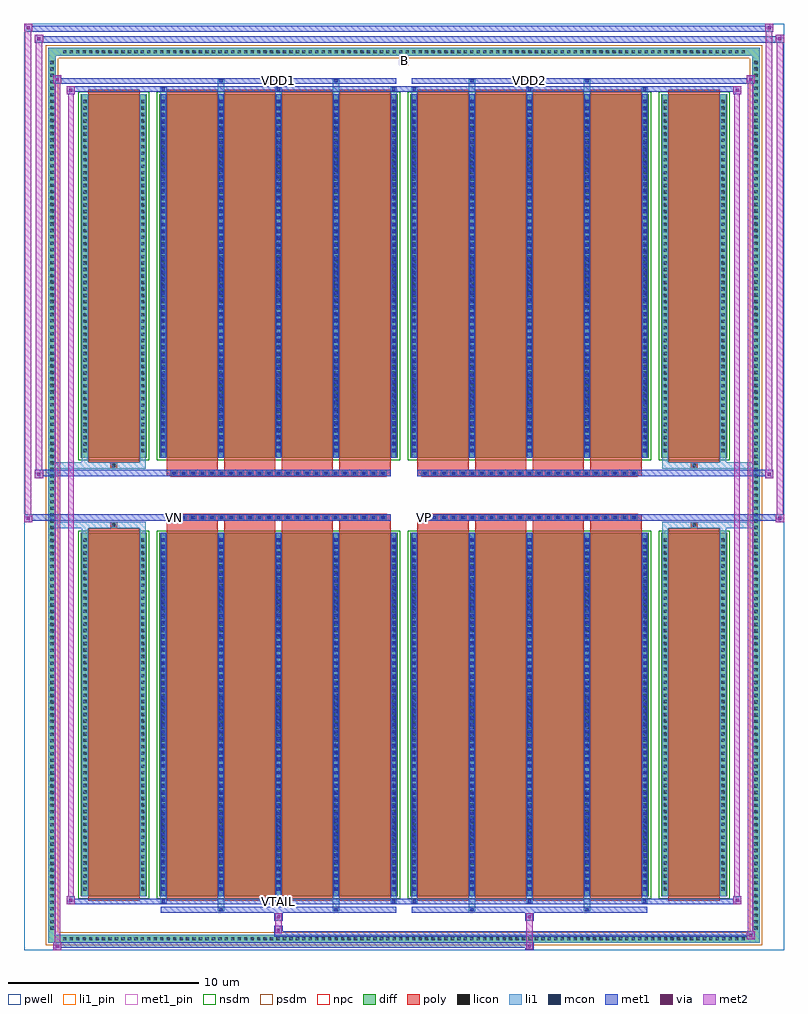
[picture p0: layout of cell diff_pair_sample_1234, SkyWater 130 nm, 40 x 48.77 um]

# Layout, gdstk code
import gdstk
lib = gdstk.Library(unit=1e-6, precision=5e-09)
def R(c, l, rs):  # rectangles x0, y0, x1, y1
    for r in rs: c.add(gdstk.rectangle(r[:2], r[2:], *l))
def A(c, l, x, y, w, h, nx, ny, dx, dy):  # array of equal rectangles
    R(c, l, [(x+i*dx, y+j*dy, x+i*dx+w, y+j*dy+h) for i in range(nx) for j in range(ny)])
def P(c, l, *ps):  # polygons
    for p in ps: c.add(gdstk.Polygon(p, *l))
pwell = (64, 44)
diff = (65, 20)
poly = (66, 20)
licon = (66, 44)
li1_pin = (67, 16)
li1 = (67, 20)
mcon = (67, 44)
met1_pin = (68, 16)
met1 = (68, 20)
via = (68, 44)
met2 = (69, 20)
nsdm = (93, 44)
psdm = (94, 20)
npc = (95, 20)

diff_pair_sample_1234 = lib.new_cell('diff_pair_sample_1234')
R(diff_pair_sample_1234, pwell, [(-20,-23.95,20,24.82), (-17.32,-22.14,-0.01,-0.8), (0.01,-22.14,17.32,-0.8), (-17.32,0.8,-0.01,22.14), (0.01,0.8,17.32,22.14)])
A(diff_pair_sample_1234, diff, -18.055, -23.55, 0.41, 0.41, 106, 2, 0.34, 46.69)
A(diff_pair_sample_1234, diff, -18.73, -22.985, 0.41, 0.41, 1, 135, 0, 0.34)
A(diff_pair_sample_1234, diff, 18.32, -22.985, 0.41, 0.41, 1, 135, 0, 0.34)
R(diff_pair_sample_1234, diff, [(-18.055,-23.55,18.055,-23.14), (-18.73,-22.985,-18.32,22.985), (18.32,-22.985,18.73,22.985), (-17.01,-21.095,-13.53,-1.985), (-12.89,-21.095,-0.32,-1.985), (0.32,-21.095,12.89,-1.985), (13.53,-21.095,17.01,-1.985), (-17.01,1.985,-13.53,21.095), (-12.89,1.985,-0.32,21.095), (0.32,1.985,12.89,21.095), (13.53,1.985,17.01,21.095), (-18.055,23.14,18.055,23.55)])
P(diff_pair_sample_1234, diff, [(18.73,23.55),(-18.73,23.55),(-18.73,-23.14),(-18.32,-23.14),(-18.32,23.14),(18.32,23.14),(18.32,-23.14),(-18.32,-23.14),(-18.73,-23.14),(-18.73,-23.55),(18.73,-23.55)])
A(diff_pair_sample_1234, poly, -12.5, -21.345, 2.7, 19.61, 4, 2, 3.03, 23.08)
A(diff_pair_sample_1234, poly, 0.71, -21.345, 2.7, 19.61, 4, 2, 3.03, 23.08)
A(diff_pair_sample_1234, poly, -12.5, -1.735, 2.7, 0.405, 4, 2, 3.03, 3.065)
A(diff_pair_sample_1234, poly, 0.71, -1.735, 2.7, 0.405, 4, 2, 3.03, 3.065)
A(diff_pair_sample_1234, poly, -12.27, -1.33, 0.33, 0.33, 23, 2, 0.5, 2.33)
A(diff_pair_sample_1234, poly, 0.94, -1.33, 0.33, 0.33, 23, 2, 0.5, 2.33)
R(diff_pair_sample_1234, poly, [(-16.62,-21.345,-13.92,-1.735), (13.92,-21.345,16.62,-1.735), (-15.435,-1.735,-15.105,-1.405), (-15.435,-1.735,-15.105,-1.405), (15.105,-1.735,15.435,-1.405), (15.105,-1.735,15.435,-1.405), (-12.5,-1.33,-0.71,-1), (0.71,-1.33,12.5,-1), (-12.5,1,-0.71,1.33), (0.71,1,12.5,1.33), (-15.435,1.405,-15.105,1.735), (-15.435,1.405,-15.105,1.735), (15.105,1.405,15.435,1.735), (15.105,1.405,15.435,1.735), (-16.62,1.735,-13.92,21.345), (13.92,1.735,16.62,21.345)])
A(diff_pair_sample_1234, licon, -17.935, -23.43, 0.17, 0.17, 106, 2, 0.34, 46.69)
A(diff_pair_sample_1234, licon, -18.61, -22.865, 0.17, 0.17, 1, 135, 0, 0.34)
A(diff_pair_sample_1234, licon, 18.44, -22.865, 0.17, 0.17, 1, 135, 0, 0.34)
A(diff_pair_sample_1234, licon, -16.87, -20.805, 0.17, 0.17, 1, 55, 0, 0.34)
A(diff_pair_sample_1234, licon, -13.84, -20.805, 0.17, 0.17, 1, 55, 0, 0.34)
A(diff_pair_sample_1234, licon, -12.75, -20.805, 0.17, 0.17, 5, 55, 3.03, 0.34)
A(diff_pair_sample_1234, licon, 0.46, -20.805, 0.17, 0.17, 5, 55, 3.03, 0.34)
A(diff_pair_sample_1234, licon, 13.67, -20.805, 0.17, 0.17, 1, 55, 0, 0.34)
A(diff_pair_sample_1234, licon, 16.7, -20.805, 0.17, 0.17, 1, 55, 0, 0.34)
A(diff_pair_sample_1234, licon, -12.19, -1.25, 0.17, 0.17, 23, 2, 0.5, 2.33)
A(diff_pair_sample_1234, licon, 1.02, -1.25, 0.17, 0.17, 23, 2, 0.5, 2.33)
A(diff_pair_sample_1234, licon, -16.87, 2.275, 0.17, 0.17, 1, 55, 0, 0.34)
A(diff_pair_sample_1234, licon, -13.84, 2.275, 0.17, 0.17, 1, 55, 0, 0.34)
A(diff_pair_sample_1234, licon, -12.75, 2.275, 0.17, 0.17, 5, 55, 3.03, 0.34)
A(diff_pair_sample_1234, licon, 0.46, 2.275, 0.17, 0.17, 5, 55, 3.03, 0.34)
A(diff_pair_sample_1234, licon, 13.67, 2.275, 0.17, 0.17, 1, 55, 0, 0.34)
A(diff_pair_sample_1234, licon, 16.7, 2.275, 0.17, 0.17, 1, 55, 0, 0.34)
R(diff_pair_sample_1234, licon, [(-15.355,-1.655,-15.185,-1.485), (15.185,-1.655,15.355,-1.485), (-15.355,1.485,-15.185,1.655), (15.185,1.485,15.355,1.655)])
R(diff_pair_sample_1234, li1_pin, [(-0.25,22.64,0.25,23.14)])
A(diff_pair_sample_1234, li1, -18.015, -23.51, 0.33, 0.33, 106, 2, 0.34, 46.69)
A(diff_pair_sample_1234, li1, -18.69, -22.945, 0.33, 0.33, 1, 135, 0, 0.34)
A(diff_pair_sample_1234, li1, 18.36, -22.945, 0.33, 0.33, 1, 135, 0, 0.34)
A(diff_pair_sample_1234, li1, -12.83, -21.47, 0.33, 0.375, 3, 2, 6.06, 42.565)
A(diff_pair_sample_1234, li1, -12.75, -21.47, 0.17, 0.17, 3, 2, 6.06, 42.77)
A(diff_pair_sample_1234, li1, 0.38, -21.47, 0.33, 0.375, 3, 2, 6.06, 42.565)
A(diff_pair_sample_1234, li1, 0.46, -21.47, 0.17, 0.17, 3, 2, 6.06, 42.77)
A(diff_pair_sample_1234, li1, -12.83, -21.095, 0.33, 19.11, 5, 2, 3.03, 23.08)
A(diff_pair_sample_1234, li1, 0.38, -21.095, 0.33, 19.11, 5, 2, 3.03, 23.08)
A(diff_pair_sample_1234, li1, -16.95, -20.885, 0.33, 0.33, 1, 55, 0, 0.34)
A(diff_pair_sample_1234, li1, -13.92, -20.885, 0.33, 0.33, 1, 55, 0, 0.34)
A(diff_pair_sample_1234, li1, -12.83, -20.885, 0.33, 0.33, 5, 55, 3.03, 0.34)
A(diff_pair_sample_1234, li1, 0.38, -20.885, 0.33, 0.33, 5, 55, 3.03, 0.34)
A(diff_pair_sample_1234, li1, 13.59, -20.885, 0.33, 0.33, 1, 55, 0, 0.34)
A(diff_pair_sample_1234, li1, 16.62, -20.885, 0.33, 0.33, 1, 55, 0, 0.34)
A(diff_pair_sample_1234, li1, -12.75, -20.805, 0.17, 0.17, 5, 52, 3.03, 0.36)
A(diff_pair_sample_1234, li1, -12.75, -20.805, 0.17, 18.53, 5, 2, 3.03, 23.08)
A(diff_pair_sample_1234, li1, 0.46, -20.805, 0.17, 0.17, 5, 52, 3.03, 0.36)
A(diff_pair_sample_1234, li1, 0.46, -20.805, 0.17, 18.53, 5, 2, 3.03, 23.08)
A(diff_pair_sample_1234, li1, -12.27, -1.33, 0.33, 0.33, 23, 2, 0.5, 2.33)
A(diff_pair_sample_1234, li1, 0.94, -1.33, 0.33, 0.33, 23, 2, 0.5, 2.33)
A(diff_pair_sample_1234, li1, -16.95, 2.195, 0.33, 0.33, 1, 55, 0, 0.34)
A(diff_pair_sample_1234, li1, -13.92, 2.195, 0.33, 0.33, 1, 55, 0, 0.34)
A(diff_pair_sample_1234, li1, -12.83, 2.195, 0.33, 0.33, 5, 55, 3.03, 0.34)
A(diff_pair_sample_1234, li1, 0.38, 2.195, 0.33, 0.33, 5, 55, 3.03, 0.34)
A(diff_pair_sample_1234, li1, 13.59, 2.195, 0.33, 0.33, 1, 55, 0, 0.34)
A(diff_pair_sample_1234, li1, 16.62, 2.195, 0.33, 0.33, 1, 55, 0, 0.34)
A(diff_pair_sample_1234, li1, -12.75, 2.275, 0.17, 0.17, 5, 52, 3.03, 0.36)
A(diff_pair_sample_1234, li1, 0.46, 2.275, 0.17, 0.17, 5, 52, 3.03, 0.36)
R(diff_pair_sample_1234, li1, [(-18.73,-23.55,-18.32,-23.14), (-18.73,-23.55,-18.32,-23.14), (-18.32,-23.55,18.32,-23.14), (18.32,-23.55,18.73,-23.14), (18.32,-23.55,18.73,-23.14), (-18.73,-23.14,-18.32,23.14), (18.32,-23.14,18.73,23.14), (-9.8,-21.9,-9.47,-21.095), (-9.72,-21.9,-9.55,-21.73), (-3.74,-21.9,-3.41,-21.095), (-3.66,-21.9,-3.49,-21.73), (3.41,-21.9,3.74,-21.095), (3.49,-21.9,3.66,-21.73), (9.47,-21.9,9.8,-21.095), (9.55,-21.9,9.72,-21.73), (-16.95,-21.095,-16.62,-1.985), (-13.92,-21.095,-13.59,-1.985), (13.59,-21.095,13.92,-1.985), (16.62,-21.095,16.95,-1.985), (-16.95,-1.985,-16.62,-1.405), (-13.92,-1.985,-13.59,-1.405), (13.59,-1.985,13.92,-1.405), (16.62,-1.985,16.95,-1.405), (-18.73,-1.735,-15.435,-1.405), (-16.95,-1.735,-15.435,-1.405), (-15.435,-1.735,-15.105,-1.405), (-15.105,-1.735,-13.59,-1.405), (13.59,-1.735,15.105,-1.405), (15.105,-1.735,15.435,-1.405), (15.105,-1.735,18.73,-1.405), (15.435,-1.735,16.95,-1.405), (-18.73,1.405,-15.435,1.735), (-16.95,1.405,-15.435,1.735), (-16.95,1.405,-16.62,1.985), (-15.435,1.405,-15.105,1.735), (-15.105,1.405,-13.59,1.735), (-13.92,1.405,-13.59,1.985), (13.59,1.405,15.105,1.735), (13.59,1.405,13.92,1.985), (15.105,1.405,15.435,1.735), (15.105,1.405,18.73,1.735), (15.435,1.405,16.95,1.735), (16.62,1.405,16.95,1.985), (-16.95,1.985,-16.62,21.095), (-13.92,1.985,-13.59,21.095), (13.59,1.985,13.92,21.095), (16.62,1.985,16.95,21.095), (-9.8,21.095,-9.47,21.9), (-3.74,21.095,-3.41,21.9), (3.41,21.095,3.74,21.9), (9.47,21.095,9.8,21.9), (-9.72,21.73,-9.55,21.9), (-3.66,21.73,-3.49,21.9), (3.49,21.73,3.66,21.9), (9.55,21.73,9.72,21.9), (-18.73,23.14,-18.32,23.55), (-18.73,23.14,-18.32,23.55), (-18.32,23.14,18.32,23.55), (18.32,23.14,18.73,23.55), (18.32,23.14,18.73,23.55)])
A(diff_pair_sample_1234, mcon, -12.75, -21.47, 0.17, 0.17, 3, 2, 6.06, 42.77)
A(diff_pair_sample_1234, mcon, 0.46, -21.47, 0.17, 0.17, 3, 2, 6.06, 42.77)
A(diff_pair_sample_1234, mcon, -12.75, -20.805, 0.17, 0.17, 5, 52, 3.03, 0.36)
A(diff_pair_sample_1234, mcon, 0.46, -20.805, 0.17, 0.17, 5, 52, 3.03, 0.36)
A(diff_pair_sample_1234, mcon, -12.19, -1.25, 0.17, 0.17, 23, 2, 0.5, 2.33)
A(diff_pair_sample_1234, mcon, 1.02, -1.25, 0.17, 0.17, 23, 2, 0.5, 2.33)
A(diff_pair_sample_1234, mcon, -12.75, 2.275, 0.17, 0.17, 5, 52, 3.03, 0.36)
A(diff_pair_sample_1234, mcon, 0.46, 2.275, 0.17, 0.17, 5, 52, 3.03, 0.36)
R(diff_pair_sample_1234, mcon, [(-9.72,-21.9,-9.55,-21.73), (-3.66,-21.9,-3.49,-21.73), (3.49,-21.9,3.66,-21.73), (9.55,-21.9,9.72,-21.73), (-9.72,21.73,-9.55,21.9), (-3.66,21.73,-3.49,21.9), (3.49,21.73,3.66,21.9), (9.55,21.73,9.72,21.9)])
R(diff_pair_sample_1234, met1_pin, [(-6.74,-21.51,-6.47,-21.24), (-12.24,-1.29,-11.97,-1.02), (0.97,-1.29,1.24,-1.02), (-6.74,21.69,-6.47,21.96), (6.47,21.69,6.74,21.96)])
A(diff_pair_sample_1234, met1, -12.81, -21.53, 0.29, 0.29, 3, 2, 6.06, 42.77)
A(diff_pair_sample_1234, met1, 0.4, -21.53, 0.29, 0.29, 3, 2, 6.06, 42.77)
A(diff_pair_sample_1234, met1, -12.81, -21.095, 0.29, 19.11, 5, 2, 3.03, 23.08)
A(diff_pair_sample_1234, met1, 0.4, -21.095, 0.29, 19.11, 5, 2, 3.03, 23.08)
A(diff_pair_sample_1234, met1, -12.81, -20.865, 0.29, 0.29, 5, 52, 3.03, 0.36)
A(diff_pair_sample_1234, met1, 0.4, -20.865, 0.29, 0.29, 5, 52, 3.03, 0.36)
A(diff_pair_sample_1234, met1, -12.25, -1.31, 0.29, 0.29, 23, 2, 0.5, 2.33)
A(diff_pair_sample_1234, met1, 0.96, -1.31, 0.29, 0.29, 23, 2, 0.5, 2.33)
A(diff_pair_sample_1234, met1, -12.81, 2.215, 0.29, 0.29, 5, 52, 3.03, 0.36)
A(diff_pair_sample_1234, met1, 0.4, 2.215, 0.29, 0.29, 5, 52, 3.03, 0.36)
R(diff_pair_sample_1234, met1, [(-18.46,-23.95,-18.03,-23.52), (6.39,-23.95,6.82,-23.52), (-18.46,-23.81,6.82,-23.52), (18.03,-23.38,18.46,-22.95), (-6.82,-23.24,18.46,-22.95), (-6.82,-23.1,-6.39,-22.67), (-6.82,-22.39,-6.39,-21.96), (6.39,-22.39,6.82,-21.96), (-12.81,-21.96,-0.4,-21.67), (-9.78,-21.96,-9.49,-21.67), (-3.72,-21.96,-3.43,-21.67), (0.4,-21.96,12.81,-21.67), (3.43,-21.96,3.72,-21.67), (9.49,-21.96,9.78,-21.67), (-17.75,-21.53,-17.32,-21.1), (-17.75,-21.53,-12.81,-21.24), (-12.81,-21.53,-0.4,-21.24), (-0.4,-21.53,0.4,-21.24), (0.4,-21.53,12.81,-21.24), (12.81,-21.53,17.75,-21.24), (17.32,-21.53,17.75,-21.1), (-20,-1.43,-19.57,-1), (19.57,-1.43,20,-1), (-20,-1.33,-0.71,-1), (-12.5,-1.33,-0.71,-1), (0.71,-1.33,12.5,-1), (0.71,-1.33,20,-1), (-19.43,0.9,-19,1.33), (19,0.9,19.43,1.33), (-19.43,1,-12.5,1.33), (-12.5,1,-0.71,1.33), (0.71,1,12.5,1.33), (12.5,1,19.43,1.33), (-17.75,21.1,-17.32,21.53), (17.32,21.1,17.75,21.53), (-17.75,21.24,-12.81,21.53), (-12.81,21.24,-0.4,21.53), (-0.4,21.24,0.4,21.53), (0.4,21.24,12.81,21.53), (12.81,21.24,17.75,21.53), (-18.46,21.67,-18.03,22.1), (-18.46,21.67,-12.81,21.96), (-12.81,21.67,-0.4,21.96), (-9.78,21.67,-9.49,21.96), (-3.72,21.67,-3.43,21.96), (0.4,21.67,12.81,21.96), (3.43,21.67,3.72,21.96), (9.49,21.67,9.78,21.96), (12.81,21.67,18.46,21.96), (18.03,21.67,18.46,22.1), (-19.43,23.82,-19,24.25), (-19.43,23.82,-17.32,24.15), (-17.32,23.82,17.32,24.15), (17.32,23.82,20,24.15), (19.57,23.82,20,24.25), (-20,24.39,-19.57,24.82), (-20,24.39,-17.32,24.72), (-17.32,24.39,17.32,24.72), (17.32,24.39,19.43,24.72), (19,24.39,19.43,24.82)])
R(diff_pair_sample_1234, via, [(-18.32,-23.81,-18.17,-23.66), (6.53,-23.81,6.68,-23.66), (18.17,-23.24,18.32,-23.09), (-6.68,-22.96,-6.53,-22.81), (-6.68,-22.25,-6.53,-22.1), (6.53,-22.25,6.68,-22.1), (-17.61,-21.39,-17.46,-21.24), (17.46,-21.39,17.61,-21.24), (-19.86,-1.29,-19.71,-1.14), (19.71,-1.29,19.86,-1.14), (-19.29,1.04,-19.14,1.19), (19.14,1.04,19.29,1.19), (-17.61,21.24,-17.46,21.39), (17.46,21.24,17.61,21.39), (-18.32,21.81,-18.17,21.96), (18.17,21.81,18.32,21.96), (-19.29,23.96,-19.14,24.11), (19.71,23.96,19.86,24.11), (-19.86,24.53,-19.71,24.68), (19.14,24.53,19.29,24.68)])
R(diff_pair_sample_1234, met2, [(-18.46,-23.95,-18.03,-23.52), (-18.39,-23.95,-18.1,22.1), (-18.1,-23.95,-18.03,-23.52), (-18.41,-23.9,-18.08,-23.57), (6.44,-23.9,6.77,-23.57), (6.44,-23.57,6.77,-22.34), (18.03,-23.38,18.46,-22.95), (18.1,-23.38,18.39,22.1), (18.39,-23.38,18.46,-22.95), (18.08,-23.33,18.41,-23), (-6.77,-23.05,-6.44,-22.72), (-6.77,-22.72,-6.44,-22.34), (-6.77,-22.34,-6.44,-22.01), (6.44,-22.34,6.77,-22.01), (-17.75,-21.53,-17.32,-21.1), (-17.68,-21.53,-17.39,21.53), (-17.39,-21.53,-17.32,-21.1), (17.32,-21.53,17.75,-21.1), (17.39,-21.53,17.68,21.53), (17.68,-21.53,17.75,-21.1), (-17.7,-21.48,-17.37,-21.15), (17.37,-21.48,17.7,-21.15), (-20,-1.43,-19.57,-1), (-19.95,-1.43,-19.62,24.82), (-19.62,-1.43,-19.57,-1), (19.57,-1.43,20,-1), (19.62,-1.43,19.95,24.25), (19.95,-1.43,20,-1), (-19.95,-1.38,-19.62,-1.05), (19.62,-1.38,19.95,-1.05), (-19.43,0.9,-19,1.33), (-19.38,0.9,-19.05,24.25), (-19.05,0.9,-19,1.33), (19,0.9,19.43,1.33), (19.05,0.9,19.38,24.82), (19.38,0.9,19.43,1.33), (-19.38,0.95,-19.05,1.28), (19.05,0.95,19.38,1.28), (-17.75,21.1,-17.32,21.53), (-17.39,21.1,-17.32,21.53), (17.32,21.1,17.75,21.53), (17.68,21.1,17.75,21.53), (-17.7,21.15,-17.37,21.48), (17.37,21.15,17.7,21.48), (-18.46,21.67,-18.03,22.1), (-18.1,21.67,-18.03,22.1), (18.03,21.67,18.46,22.1), (18.39,21.67,18.46,22.1), (-18.41,21.72,-18.08,22.05), (18.08,21.72,18.41,22.05), (-19.43,23.82,-19,24.25), (-19.05,23.82,-19,24.25), (19.57,23.82,20,24.25), (19.95,23.82,20,24.25), (-19.38,23.87,-19.05,24.2), (19.62,23.87,19.95,24.2), (-20,24.39,-19.57,24.82), (-19.62,24.39,-19.57,24.82), (19,24.39,19.43,24.82), (19.38,24.39,19.43,24.82), (-19.95,24.44,-19.62,24.77), (19.05,24.44,19.38,24.77)])
R(diff_pair_sample_1234, nsdm, [(-17.14,-21.225,-13.4,-1.855), (-13.02,-21.225,-0.19,-1.855), (0.19,-21.225,13.02,-1.855), (13.4,-21.225,17.14,-1.855), (-17.14,1.855,-13.4,21.225), (-13.02,1.855,-0.19,21.225), (0.19,1.855,13.02,21.225), (13.4,1.855,17.14,21.225)])
P(diff_pair_sample_1234, psdm, [(18.86,23.68),(-18.86,23.68),(-18.86,-23.01),(-18.19,-23.01),(-18.19,23.01),(18.19,23.01),(18.19,-23.01),(-18.19,-23.01),(-18.86,-23.01),(-18.86,-23.68),(18.86,-23.68)])
A(diff_pair_sample_1234, npc, -12.29, -1.35, 0.37, 0.37, 23, 2, 0.5, 2.33)
A(diff_pair_sample_1234, npc, 0.92, -1.35, 0.37, 0.37, 23, 2, 0.5, 2.33)
R(diff_pair_sample_1234, npc, [(-15.455,-1.755,-15.085,-1.385), (15.085,-1.755,15.455,-1.385), (-12.29,-1.35,-11.42,-0.98), (-12.29,-1.35,-11.42,-0.98), (-11.79,-1.35,-10.92,-0.98), (-11.79,-1.35,-10.92,-0.98), (-11.29,-1.35,-10.42,-0.98), (-11.29,-1.35,-10.42,-0.98), (-10.79,-1.35,-9.92,-0.98), (-10.79,-1.35,-9.92,-0.98), (-10.29,-1.35,-9.42,-0.98), (-10.29,-1.35,-9.42,-0.98), (-9.79,-1.35,-8.92,-0.98), (-9.79,-1.35,-8.92,-0.98), (-9.29,-1.35,-8.42,-0.98), (-9.29,-1.35,-8.42,-0.98), (-8.79,-1.35,-7.92,-0.98), (-8.79,-1.35,-7.92,-0.98), (-8.29,-1.35,-7.42,-0.98), (-8.29,-1.35,-7.42,-0.98), (-7.79,-1.35,-6.92,-0.98), (-7.79,-1.35,-6.92,-0.98), (-7.29,-1.35,-6.42,-0.98), (-7.29,-1.35,-6.42,-0.98), (-6.79,-1.35,-5.92,-0.98), (-6.79,-1.35,-5.92,-0.98), (-6.29,-1.35,-5.42,-0.98), (-6.29,-1.35,-5.42,-0.98), (-5.79,-1.35,-4.92,-0.98), (-5.79,-1.35,-4.92,-0.98), (-5.29,-1.35,-4.42,-0.98), (-5.29,-1.35,-4.42,-0.98), (-4.79,-1.35,-3.92,-0.98), (-4.79,-1.35,-3.92,-0.98), (-4.29,-1.35,-3.42,-0.98), (-4.29,-1.35,-3.42,-0.98), (-3.79,-1.35,-2.92,-0.98), (-3.79,-1.35,-2.92,-0.98), (-3.29,-1.35,-2.42,-0.98), (-3.29,-1.35,-2.42,-0.98), (-2.79,-1.35,-1.92,-0.98), (-2.79,-1.35,-1.92,-0.98), (-2.29,-1.35,-1.42,-0.98), (-2.29,-1.35,-1.42,-0.98), (-1.79,-1.35,-0.92,-0.98), (-1.79,-1.35,-0.92,-0.98), (0.92,-1.35,1.79,-0.98), (0.92,-1.35,1.79,-0.98), (1.42,-1.35,2.29,-0.98), (1.42,-1.35,2.29,-0.98), (1.92,-1.35,2.79,-0.98), (1.92,-1.35,2.79,-0.98), (2.42,-1.35,3.29,-0.98), (2.42,-1.35,3.29,-0.98), (2.92,-1.35,3.79,-0.98), (2.92,-1.35,3.79,-0.98), (3.42,-1.35,4.29,-0.98), (3.42,-1.35,4.29,-0.98), (3.92,-1.35,4.79,-0.98), (3.92,-1.35,4.79,-0.98), (4.42,-1.35,5.29,-0.98), (4.42,-1.35,5.29,-0.98), (4.92,-1.35,5.79,-0.98), (4.92,-1.35,5.79,-0.98), (5.42,-1.35,6.29,-0.98), (5.42,-1.35,6.29,-0.98), (5.92,-1.35,6.79,-0.98), (5.92,-1.35,6.79,-0.98), (6.42,-1.35,7.29,-0.98), (6.42,-1.35,7.29,-0.98), (6.92,-1.35,7.79,-0.98), (6.92,-1.35,7.79,-0.98), (7.42,-1.35,8.29,-0.98), (7.42,-1.35,8.29,-0.98), (7.92,-1.35,8.79,-0.98), (7.92,-1.35,8.79,-0.98), (8.42,-1.35,9.29,-0.98), (8.42,-1.35,9.29,-0.98), (8.92,-1.35,9.79,-0.98), (8.92,-1.35,9.79,-0.98), (9.42,-1.35,10.29,-0.98), (9.42,-1.35,10.29,-0.98), (9.92,-1.35,10.79,-0.98), (9.92,-1.35,10.79,-0.98), (10.42,-1.35,11.29,-0.98), (10.42,-1.35,11.29,-0.98), (10.92,-1.35,11.79,-0.98), (10.92,-1.35,11.79,-0.98), (11.42,-1.35,12.29,-0.98), (11.42,-1.35,12.29,-0.98), (-12.29,0.98,-11.42,1.35), (-12.29,0.98,-11.42,1.35), (-11.79,0.98,-10.92,1.35), (-11.79,0.98,-10.92,1.35), (-11.29,0.98,-10.42,1.35), (-11.29,0.98,-10.42,1.35), (-10.79,0.98,-9.92,1.35), (-10.79,0.98,-9.92,1.35), (-10.29,0.98,-9.42,1.35), (-10.29,0.98,-9.42,1.35), (-9.79,0.98,-8.92,1.35), (-9.79,0.98,-8.92,1.35), (-9.29,0.98,-8.42,1.35), (-9.29,0.98,-8.42,1.35), (-8.79,0.98,-7.92,1.35), (-8.79,0.98,-7.92,1.35), (-8.29,0.98,-7.42,1.35), (-8.29,0.98,-7.42,1.35), (-7.79,0.98,-6.92,1.35), (-7.79,0.98,-6.92,1.35), (-7.29,0.98,-6.42,1.35), (-7.29,0.98,-6.42,1.35), (-6.79,0.98,-5.92,1.35), (-6.79,0.98,-5.92,1.35), (-6.29,0.98,-5.42,1.35), (-6.29,0.98,-5.42,1.35), (-5.79,0.98,-4.92,1.35), (-5.79,0.98,-4.92,1.35), (-5.29,0.98,-4.42,1.35), (-5.29,0.98,-4.42,1.35), (-4.79,0.98,-3.92,1.35), (-4.79,0.98,-3.92,1.35), (-4.29,0.98,-3.42,1.35), (-4.29,0.98,-3.42,1.35), (-3.79,0.98,-2.92,1.35), (-3.79,0.98,-2.92,1.35), (-3.29,0.98,-2.42,1.35), (-3.29,0.98,-2.42,1.35), (-2.79,0.98,-1.92,1.35), (-2.79,0.98,-1.92,1.35), (-2.29,0.98,-1.42,1.35), (-2.29,0.98,-1.42,1.35), (-1.79,0.98,-0.92,1.35), (-1.79,0.98,-0.92,1.35), (0.92,0.98,1.79,1.35), (0.92,0.98,1.79,1.35), (1.42,0.98,2.29,1.35), (1.42,0.98,2.29,1.35), (1.92,0.98,2.79,1.35), (1.92,0.98,2.79,1.35), (2.42,0.98,3.29,1.35), (2.42,0.98,3.29,1.35), (2.92,0.98,3.79,1.35), (2.92,0.98,3.79,1.35), (3.42,0.98,4.29,1.35), (3.42,0.98,4.29,1.35), (3.92,0.98,4.79,1.35), (3.92,0.98,4.79,1.35), (4.42,0.98,5.29,1.35), (4.42,0.98,5.29,1.35), (4.92,0.98,5.79,1.35), (4.92,0.98,5.79,1.35), (5.42,0.98,6.29,1.35), (5.42,0.98,6.29,1.35), (5.92,0.98,6.79,1.35), (5.92,0.98,6.79,1.35), (6.42,0.98,7.29,1.35), (6.42,0.98,7.29,1.35), (6.92,0.98,7.79,1.35), (6.92,0.98,7.79,1.35), (7.42,0.98,8.29,1.35), (7.42,0.98,8.29,1.35), (7.92,0.98,8.79,1.35), (7.92,0.98,8.79,1.35), (8.42,0.98,9.29,1.35), (8.42,0.98,9.29,1.35), (8.92,0.98,9.79,1.35), (8.92,0.98,9.79,1.35), (9.42,0.98,10.29,1.35), (9.42,0.98,10.29,1.35), (9.92,0.98,10.79,1.35), (9.92,0.98,10.79,1.35), (10.42,0.98,11.29,1.35), (10.42,0.98,11.29,1.35), (10.92,0.98,11.79,1.35), (10.92,0.98,11.79,1.35), (11.42,0.98,12.29,1.35), (11.42,0.98,12.29,1.35), (-15.455,1.385,-15.085,1.755), (15.085,1.385,15.455,1.755)])
diff_pair_sample_1234.add(gdstk.Label('VTAIL', (-6.605,-21.375), layer=68, texttype=5))
diff_pair_sample_1234.add(gdstk.Label('VN', (-12.105,-1.155), layer=68, texttype=5))
diff_pair_sample_1234.add(gdstk.Label('VP', (1.105,-1.155), layer=68, texttype=5))
diff_pair_sample_1234.add(gdstk.Label('B', (0,22.89), layer=67, texttype=5))
diff_pair_sample_1234.add(gdstk.Label('VDD2', (6.605,21.825), layer=68, texttype=5))
diff_pair_sample_1234.add(gdstk.Label('VDD1', (-6.605,21.825), layer=68, texttype=5))

lib.write_gds('diff_pair_sample_1234.gds')
